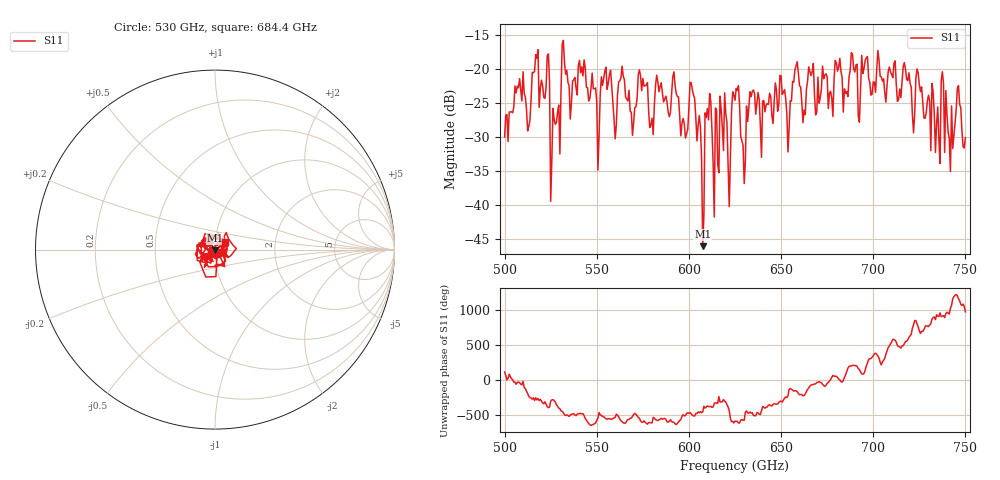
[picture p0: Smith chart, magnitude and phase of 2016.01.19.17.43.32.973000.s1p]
!Created with skrf (http://scikit-rf.org).
# GHz S RI R 50.0
!freq ReS11 ImS11
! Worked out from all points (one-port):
!   401 points, 500 GHz to 750 GHz, reference 50 ohm
!   lowest |S11| = -46.1 dB at 607.5 GHz (marker M1), VSWR 1.01, Z = 50 - j0.494 ohm
!   |S11| at or under -10 dB: start of sweep to end of sweep
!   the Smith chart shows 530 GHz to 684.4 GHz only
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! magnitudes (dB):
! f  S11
! 500 GHz  -30.1
! 506.9 GHz  -22.6
! 513.1 GHz  -28.5
! 516.9 GHz  -18.0
! 523.1 GHz  -18.2
! 526.2 GHz  -25.9
! 531.2 GHz  -16.4
! 541.9 GHz  -19.8
! 550.6 GHz  -34.9
! 562.5 GHz  -21.8
! 569.4 GHz  -29.8
! 573.8 GHz  -21.0
! 579.4 GHz  -28.3
! 593.8 GHz  -24.1
! 598.1 GHz  -30.2
! 601.9 GHz  -23.2
! 607.5 GHz  -46.1
! 610 GHz  -25.9
! 621.9 GHz  -40.3
! 625 GHz  -24.7
! 629.4 GHz  -31.3
! 634.4 GHz  -23.3
! 656.2 GHz  -21.9
! 687.5 GHz  -20.2
! 718.8 GHz  -21.8
! 735 GHz  -25.7
! 746.2 GHz  -22.5
! 750 GHz  -30.1
